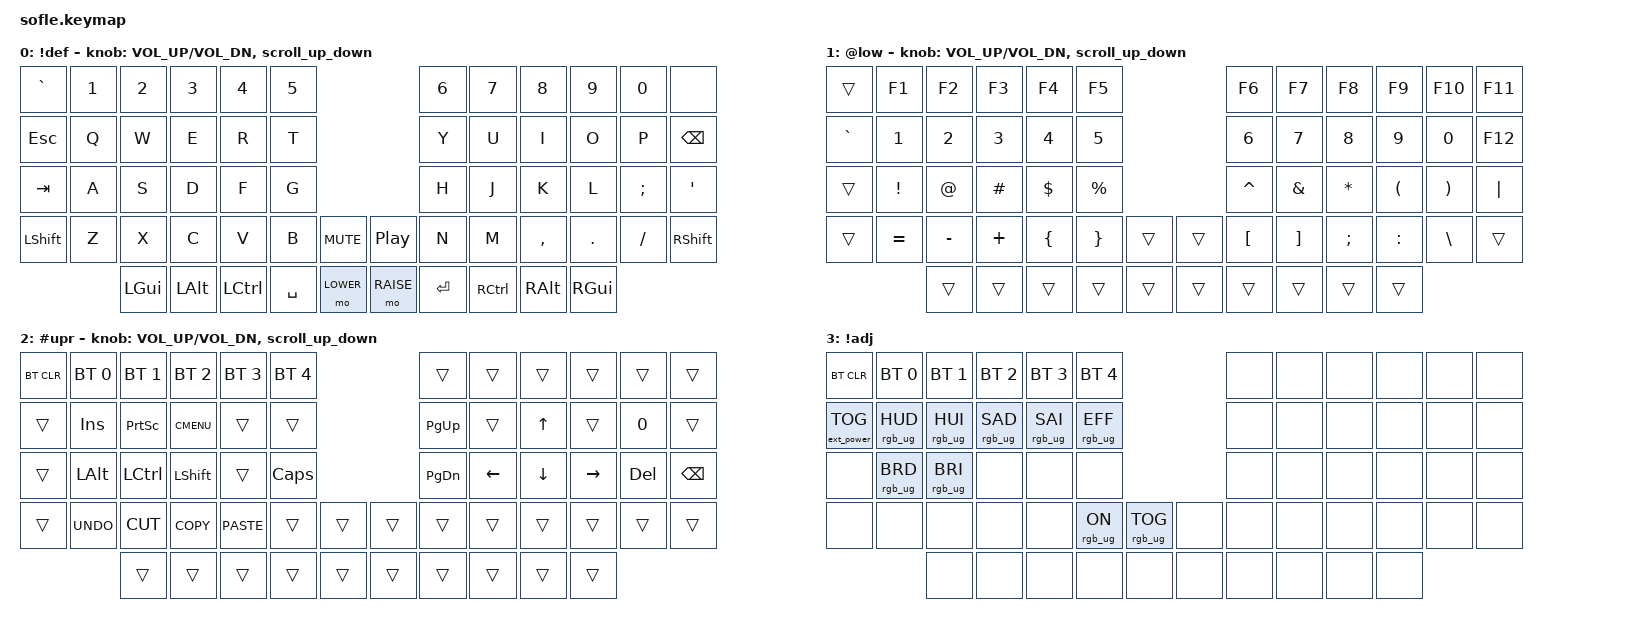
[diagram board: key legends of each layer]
/*
 * Copyright (c) 2020 The ZMK Contributors
 *
 * SPDX-License-Identifier: MIT
 */

#include <behaviors.dtsi>
#include <dt-bindings/zmk/keys.h>
#include <dt-bindings/zmk/outputs.h>
#include <dt-bindings/zmk/bt.h>
#include <dt-bindings/zmk/rgb.h>
#include <dt-bindings/zmk/ext_power.h>

#define BASE 0
#define LOWER 1
#define RAISE 2
#define ADJUST 3

#define ENCODER_RESOLUTIONS_RIGHT { 2 }

// If needed, adjust the value of ZMK_MOUSE_DEFAULT_SCRL_VAL, must be done before including mouse.h
// ref: https://github.com/zmkfirmware/zmk/issues/72#issuecomment-2081690485
// and: https://github.com/zmkfirmware/zmk/pull/2027#issuecomment-2130938216
#define ZMK_MOUSE_DEFAULT_SCRL_VAL 600 // default is 10

// NOTE: Adding or removing mouse support requires updating the HID Descriptor.
// You will need to re-pair to your devices.
// https://zmk.dev/docs/features/bluetooth#refreshing-the-hid-descriptor
#include <dt-bindings/zmk/pointing.h>

/ {

   // Activate ADJUST layer by pressing raise and lower
    conditional_layers {
        compatible = "zmk,conditional-layers";
        adjust_layer {
            if-layers = <LOWER RAISE>;
            then-layer = <ADJUST>;
        };
    };

    behaviors {
        // mouse scroll behavior
        // If needed, adjust the value of tap-ms
        // ref: https://github.com/zmkfirmware/zmk/pull/2477
        // ref: https://github.com/zmkfirmware/zmk/issues/72#issuecomment-2081690485
        // and: https://github.com/zmkfirmware/zmk/pull/2027#issuecomment-2130938216
        scroll_up_down: behavior_sensor_rotate_mouse_wheel_up_down {
            compatible = "zmk,behavior-sensor-rotate";
            #sensor-binding-cells = <0>;
            tap-ms = <20>;
            bindings = <&msc SCRL_UP>, <&msc SCRL_DOWN>;
        };
    };

    keymap {
        compatible = "zmk,keymap";

        default_layer {
            display-name = "!def";
// ------------------------------------------------------------------------------------------------------------
// |   `   |  1  |  2  |  3   |  4   |  5   |                   |  6   |  7    |  8    |  9   |   0   |       |
// |  ESC  |  Q  |  W  |  E   |  R   |  T   |                   |  Y   |  U    |  I    |  O   |   P   | BKSPC |
// |  TAB  |  A  |  S  |  D   |  F   |  G   |                   |  H   |  J    |  K    |  L   |   ;   |   '   |
// | SHIFT |  Z  |  X  |  C   |  V   |  B   |  MUTE  |  | PAUSE |  N   |  M    |  ,    |  .   |   /   | SHIFT |
//               | GUI | ALT  | CTRL | SPACE|  LOWER |  | RAISE | ENTER| CTRL  | ALT   | GUI  |
            bindings = <
&kp GRAVE &kp N1 &kp N2   &kp N3   &kp N4    &kp N5                           &kp N6 &kp N7    &kp N8    &kp N9   &kp N0   &none
&kp ESC   &kp Q  &kp W    &kp E    &kp R     &kp T                            &kp Y  &kp U     &kp I     &kp O    &kp P    &kp BSPC
&kp TAB   &kp A  &kp S    &kp D    &kp F     &kp G                            &kp H  &kp J     &kp K     &kp L    &kp SEMI &kp SQT
&kp LSHFT &kp Z  &kp X    &kp C    &kp V     &kp B      &kp C_MUTE &kp C_PP   &kp N  &kp M     &kp COMMA &kp DOT  &kp FSLH &kp RSHFT
                 &kp LGUI &kp LALT &kp LCTRL &kp SPACE  &mo LOWER  &mo RAISE  &kp RET  &kp RCTRL &kp RALT  &kp RGUI
            >;

            sensor-bindings = <&inc_dec_kp C_VOL_UP C_VOL_DN &scroll_up_down>;
        };

        lower_layer {
            display-name = "@low";
// TODO: Some binds are waiting for shifted keycode support.
// ------------------------------------------------------------------------------------------------------------
// |       |  F1 |  F2 |  F3  |  F4  |  F5  |                   |  F6  |  F7   |  F8   |  F9  |  F10  |  F11  |
// |   `   |  1  |  2  |  3   |  4   |  5   |                   |  6   |  7    |  8    |  9   |   0   |  F12  |
// |       |  !  |  @  |  #   |  $   |  %   |                   |  ^   |  &    |  *    |  (   |   )   |   |   |
// |       |  =  |  -  |  +   |  {   |  }   |        |  |       |  [   |  ]    |  ;    |  :   |   \   |       |
//               |     |      |      |      |        |  |       |      |       |       |      |
            bindings = <
&trans    &kp F1    &kp F2    &kp F3      &kp F4    &kp F5                    &kp F6    &kp F7   &kp F8    &kp F9    &kp F10   &kp F11
&kp GRAVE &kp N1    &kp N2    &kp N3      &kp N4    &kp N5                    &kp N6    &kp N7   &kp N8    &kp N9    &kp N0    &kp F12
&trans    &kp EXCL  &kp AT    &kp HASH    &kp DLLR  &kp PRCNT                 &kp CARET &kp AMPS &kp ASTRK &kp LPAR  &kp RPAR  &kp PIPE
&trans    &kp EQUAL &kp MINUS &kp PLUS &kp LBRC  &kp RBRC   &trans &trans  &kp LBKT  &kp RBKT &kp SEMI  &kp COLON &kp BSLH  &trans
                    &trans    &trans      &trans    &trans     &trans &trans  &trans    &trans   &trans    &trans
            >;

            sensor-bindings = <&inc_dec_kp C_VOL_UP C_VOL_DN &scroll_up_down>;
        };

        raise_layer {
            display-name = "#upr";
// ------------------------------------------------------------------------------------------------------------
// | BTCLR | BT1  | BT2  |  BT3  |  BT4  |  BT5 |                |      |      |       |      |       |       |
// |       | INS  | PSCR | GUI   |       |      |                | PGUP |      |   ^   |      |       |       |
// |       | ALT  | CTRL | SHIFT |       | CAPS |                | PGDN |   <- |   v   |  ->  |  DEL  | BKSPC |
// |       | UNDO | CUT  | COPY  | PASTE |      |      |  |      |      |      |       |      |       |       |
//                |      |       |       |      |      |  |      |      |      |       |      |
            bindings = <
&bt BT_CLR &bt BT_SEL 0 &bt BT_SEL 1 &bt BT_SEL 2 &bt BT_SEL 3 &bt BT_SEL 4                  &trans    &trans    &trans   &trans    &trans  &trans
&trans     &kp INS      &kp PSCRN    &kp K_CMENU  &trans       &trans                        &kp PG_UP &trans    &kp UP   &trans    &kp N0  &trans
&trans     &kp LALT     &kp LCTRL    &kp LSHFT    &trans       &kp CLCK                      &kp PG_DN &kp LEFT  &kp DOWN &kp RIGHT &kp DEL &kp BSPC
&trans     &kp K_UNDO   &kp K_CUT    &kp K_COPY   &kp K_PASTE  &trans        &trans  &trans  &trans    &trans    &trans   &trans    &trans  &trans
                        &trans       &trans       &trans       &trans        &trans  &trans  &trans    &trans    &trans   &trans
            >;

            sensor-bindings = <&inc_dec_kp C_VOL_UP C_VOL_DN &scroll_up_down>;
        };

        adjust_layer {
// ----------------------------------------------------------------------------------------------------------------------------
// | BTCLR  |  BT1    |  BT2    |   BT3   |   BT4   |   BT5   |                  |      |      |       |      |       |       |
// | EXTPWR | RGB_HUD | RGB_HUI | RGB_SAD | RGB_SAI | RGB_EFF |                  |      |      |       |      |       |       |
// |        | RGB_BRD | RGB_BRI |         |         |         |                  |      |      |       |      |       |       |
// |        |         |         |         |         | RGB_ON  | RGB_TOG | |      |      |      |       |      |       |       |
//                    |         |         |         |         |         | |      |      |      |       |      |
            display-name = "!adj";
            bindings = <
&bt BT_CLR        &bt BT_SEL 0    &bt BT_SEL 1    &bt BT_SEL 2    &bt BT_SEL 3    &bt BT_SEL 4                            &none &none &none &none &none &none
&ext_power EP_TOG &rgb_ug RGB_HUD &rgb_ug RGB_HUI &rgb_ug RGB_SAD &rgb_ug RGB_SAI &rgb_ug RGB_EFF                         &none &none &none &none &none &none
&none             &rgb_ug RGB_BRD &rgb_ug RGB_BRI &none           &none           &none                                   &none &none &none &none &none &none
&none             &none           &none           &none           &none           &rgb_ug RGB_ON   &rgb_ug RGB_TOG &none  &none &none &none &none &none &none
                                  &none           &none           &none           &none            &none           &none  &none &none &none &none
            >;
        };

    };
};
